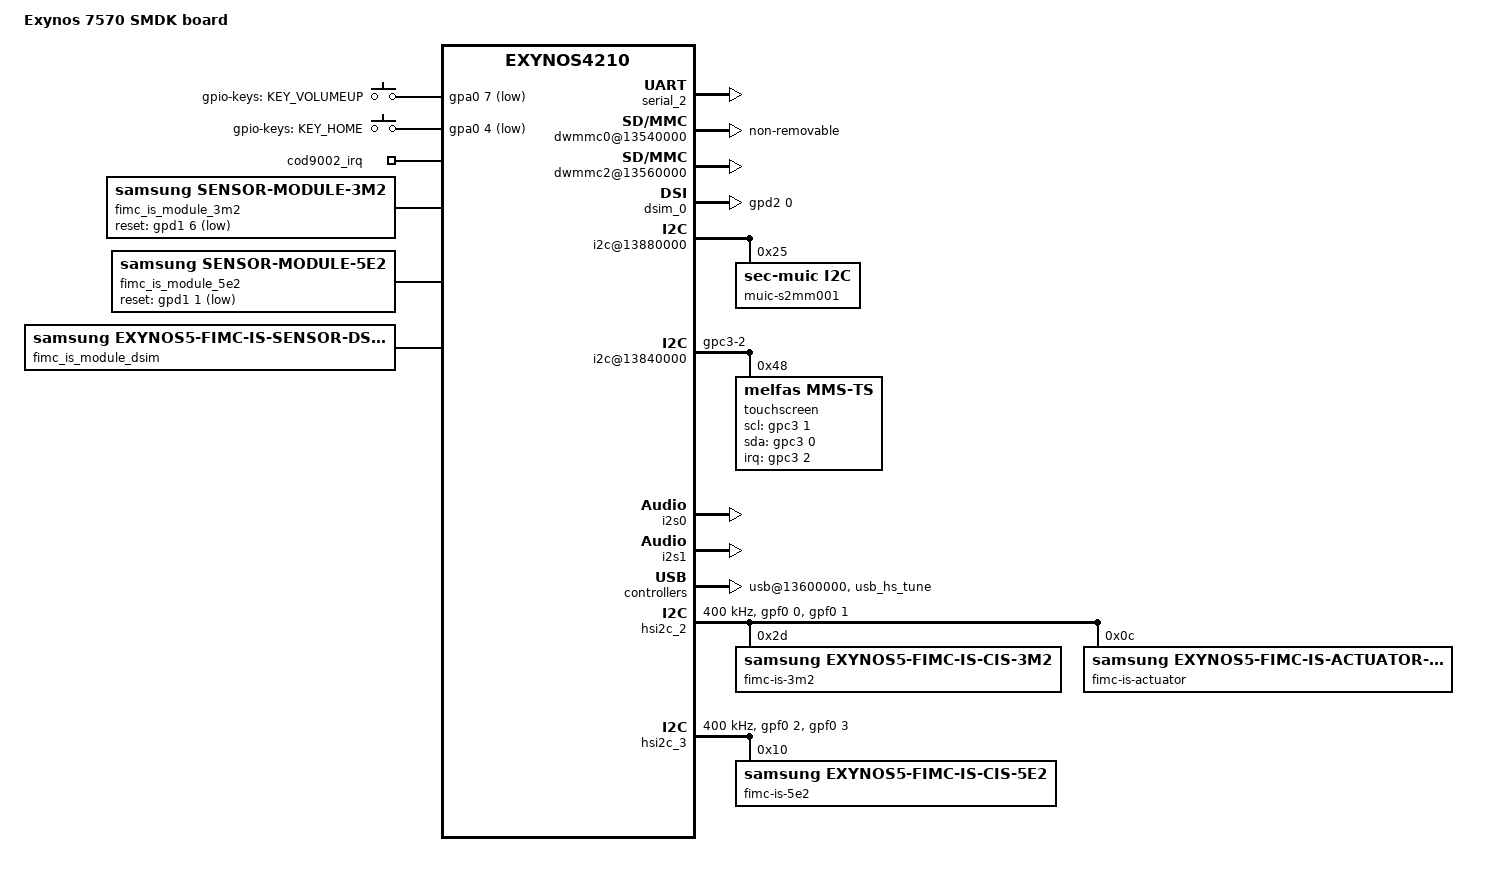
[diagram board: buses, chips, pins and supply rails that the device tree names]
/*
 * SAMSUNG UNIVERSAL8890 board device tree source
 *
 * Copyright (c) 2013 Samsung Electronics Co., Ltd.
 *		http://www.samsung.com
 *
 * This program is free software; you can redistribute it and/or modify
 * it under the terms of the GNU General Public License version 2 as
 * published by the Free Software Foundation.
*/

/dts-v1/;
#include "exynos7570-rmem.dtsi"
#include "exynos7570.dtsi"
#include "modem-ss315ap-pdata.dtsi"

/ {
	model = "Exynos 7570 SMDK board";
	compatible = "samsung,exynos7570", "samsung,exynos4210";

	memory@40000000 {
		device_type = "memory";
		reg = <0x0 0x40000000 0x60000000>;
	};

	chosen {
		bootargs = "console=ttySAC2,115200 clk_ignore_unused androidboot.hardware=samsungexynos7570 bcm_setup=0xffffff80f8e00000 androidboot.selinux=disabled firmware_class.path=/vendor/firmware ess_setup=0x46000000 reserve-fimc=0";
		linux,initrd-start = <0x42000000>;
		linux,initrd-end = <0x421FFFFF>;
	};

	fixed-rate-clocks {
		oscclk {
			compatible = "samsung,exynos7570-oscclk";
			clock-frequency = <26000000>;
		};
	};

	serial_2: uart@13820000 {
		status = "okay";
	};

	dwmmc0@13540000 {
		status = "okay";
		num-slots = <1>;
		broken-card-detect;
		use-smu;
		fixed_voltage;
		supports-highspeed;
		clock-gate;
		mmc-ddr-1_8v;
		mmc-hs200-1_8v;
		mmc-hs400-1_8v;
		supports-8bit;
		supports-cmd23;
		supports-erase;
		enable-ulp-mode;
		supports-hs400-enhanced-strobe;
		card-init-hwacg-ctrl;
		fifo-depth = <0x40>;
		non-removable;
		desc-size = <4>;
		card-detect-delay = <200>;
		data-timeout = <200>;
		hto-timeout = <550>;
		clock-frequency = <700000000>;
		device_drv = <1>;
		samsung,dw-mshc-ciu-div = <3>;
		samsung,dw-mshc-txdt-crc-timer-fastlimit = <0x34>;
		samsung,dw-mshc-txdt-crc-timer-initval = <0x38>;
		samsung,dw-mshc-ddr200-delay-line = <0x60>;
		samsung,dw-mshc-sdr-timing = <3 0 2 0>;
		samsung,dw-mshc-ddr-timing = <3 0 4 2>;
		samsung,dw-mshc-hs200-timing = <3 0 3 0>;
		samsung,dw-mshc-ddr200-timing = <1 0 4 0>;
		samsung,dw-mshc-ddr200-ulp-timing = <3 0 3 0>;

		num-ref-clks = <12>;
		ciu_clkin = <25 43 43 25 43 87 175 43 43 175 175 175>;

		/* Swapping clock drive strength */
		clk-drive-number = <4>;
		pinctrl-names = "default",
			"fast-slew-rate-1x",
			"fast-slew-rate-2x",
			"fast-slew-rate-3x",
			"fast-slew-rate-4x";
		pinctrl-0 = <&sd0_clk &sd0_cmd &sd0_rdqs &sd0_bus1 &sd0_bus4 &sd0_bus8>;
		pinctrl-1 = <&sd0_clk_fast_slew_rate_1x>;
		pinctrl-2 = <&sd0_clk_fast_slew_rate_2x>;
		pinctrl-3 = <&sd0_clk_fast_slew_rate_3x>;
		pinctrl-4 = <&sd0_clk_fast_slew_rate_4x>;
		slot@0 {
			reg = <0>;
			bus-width = <8>;
		};
	};

	dwmmc2@13560000 {
		status = "okay";
		num-slots = <1>;
		clock-gate;
		supports-highspeed;
		supports-4bit;
		supports-cmd23;
		supports-erase;
		sd-uhs-sdr50;
		sd-uhs-sdr104;
		card-detect-gpio;
		bypass-smu;
		only_once_tune;
		bypass-for-allpass;
		use-fine-tuning;
		skip-init-mmc-scan;
		card-init-hwacg-ctrl;
		switch_transfer;
		ignore-phase = <(1 << 7)>;
		fifo-depth = <0x40>;
		desc-size = <4>;
		card-detect-delay = <200>;
		data-timeout = <200>;
		hto-timeout = <550>;
		clock-frequency = <700000000>;
		samsung,dw-mshc-ciu-div = <3>;
		samsung,dw-mshc-sdr-timing = <3 0 2 0>;
		samsung,dw-mshc-ddr-timing = <3 0 2 1>;
		samsung,dw-mshc-sdr50-timing = <3 0 4 2>;
		samsung,dw-mshc-sdr104-timing = <3 0 3 0>;

		num-ref-clks = <9>;
		ciu_clkin = <25 43 43 25 43 87 175 43 43>;

		clk-drive-number = <4>;
		pinctrl-names = "default",
			"fast-slew-rate-1x",
			"fast-slew-rate-2x",
			"fast-slew-rate-3x",
			"fast-slew-rate-4x";
		pinctrl-0 = <&sd2_clk &sd2_cmd &sd2_bus1 &sd2_bus4 &dwmmc2_cd_ext_irq>;
		pinctrl-1 = <&sd2_clk_fast_slew_rate_1x>;
		pinctrl-2 = <&sd2_clk_fast_slew_rate_2x>;
		pinctrl-3 = <&sd2_clk_fast_slew_rate_3x>;
		pinctrl-4 = <&sd2_clk_fast_slew_rate_4x>;

		card-detect = <&gpa0 1 0xf>;
		slot@0 {
			reg = <0>;
			bus-width = <4>;
			disable-wp;
		};
	};

	ion {
		compatible = "samsung,exynos5430-ion";
	};

	decon_fb@14830000 {
		psr_mode = <0>; /* 0: video mode, 1: DP command mode, 2: MIPI command mode */
		/* target decon VCLK = 75MHz */
		/* vclk_mif = 140MHz */
		mif-vclk = <140000000>;
		/* vclk = 140MHz */
		disp-vclk = <140000000>;
		/* decon_divider_num = 1024 */
		vclk-num = <1024>;
		/* decon_divider_denom = 731 */
		vclk-denom = <731>;
		/* aclk = 208MHz */
		disp-dvfs = <208000000>;
		/* XEINT3, GPIO & pin control */
		gpios = <&gpa0 3 0xf>;
		status = "okay";
	};

	dsim_0: dsim@14800000 {
		lcd_info = <&s6e8aa0>;
		/*lcd reset */
		gpios = <&gpd2 0 0x1>;
		status = "okay";
	};

	s6e8aa0: s6e8aa0_hd {
		mode = <0>; /* 0: video mode, 1: DP command mode, 2: MIPI command mode */
		/* HD(720 x 1280) */
		panel_name = "s6e8aa0";
		resolution = <720 1280>;
		size = <71 114>;
		timing,refresh = <60>;
		/* dsim H porch : hbp, hfp, hsa */
		timing,dsim_h-porch = <1 1 1>;
		/* dsim V porch : VBP, VFP, VSA */
		timing,dsim_v-porch = <1 13 2>;
		/* decon H porch : hbp, hfp, hsa */
		timing,decon_h-porch = <1 564 1>;
		/* decon V porch : VBP, VFP, VSA */
		timing,decon_v-porch = <1 13 2>;
		timing,dsi-hs-clk = <600>;
		timing,pms = <4 185 1>;
		timing,dsi-escape-clk = <16>;
	};

	pinctrl@139F0000 {
		if_irq: if-irq {
			samsung,pins = "gpa0-5";
			samsung,pin-pud = <3>;
			samsung,pin-drv = <3>;
		};
	};

	i2c@13880000 {
		status = "okay";
		muic-s2mm001@25 {
			compatible = "sec-muic,i2c";
			reg = <0x25>;
			pinctrl-names = "default";
			muic,muic_int = <&gpa1 1 0>;
		};
	};

	speedy@10510000 {
		status = "okay";

		s2mpu06mfd@00 {
			compatible = "samsung,s2mpu06mfd";
			reg = <0x00>;
			pinctrl-names = "default";
			pinctrl-0 = <&if_irq>;
			s2mpu06,wakeup = "enabled";
			s2mpu06,irq-gpio = <&gpa0 5 0>;

			i2c-speedy-address;
			cache_data = <1>;

			/* RTC: wtsr/smpl */
			wtsr_en = "enabled"; /* enable */
			smpl_en = "enabled"; /* enable */
			wtsr_timer_val = <3>;   /* 1000ms */
			smpl_timer_val = <4>;   /* 500ms */
			check_jigon = <0>; /* do not check jigon */
			/* RTC: If it's first boot, reset rtc to 1/1/2015 12:00:00(Wed) */
			init_time,sec = <0>;
			init_time,min = <0>;
			init_time,hour = <0>;
			init_time,mday = <1>;
			init_time,mon = <0>;
			init_time,year = <116>;
			init_time,wday = <5>;

			s2mpu06-keys {
				button@1 {
					label = "pmic-keys: KEY_POWER";
					linux,code = <116>;
					wakeup = <1>;
				};
			};

			regulators {
				buck1_reg: BUCK1 {
					regulator-name = "BUCK1";
					regulator-min-microvolt = <500000>;
					regulator-max-microvolt = <1300000>;
					regulator-always-on;
					regulator-boot-on;
					regulator-ramp-delay = <12000>;
					regulator-initial-mode = <1>;
					regulator-expected-consumer = <6>;
				};

				buck2_reg: BUCK2 {
					regulator-name = "BUCK2";
					regulator-min-microvolt = <800000>;
					regulator-max-microvolt = <2800000>;
					regulator-always-on;
					regulator-boot-on;
					regulator-ramp-delay = <12000>;
					regulator-initial-mode = <3>;
				};

				buck3_reg: BUCK3 {
					regulator-name = "BUCK3";
					regulator-min-microvolt = <800000>;
					regulator-max-microvolt = <2800000>;
					regulator-always-on;
					regulator-boot-on;
					regulator-ramp-delay = <12000>;
					regulator-initial-mode = <1>;
				};

				ldo1_reg: LDO1 {
					regulator-name = "vdd_ldo1";
					regulator-min-microvolt = <500000>;
					regulator-max-microvolt = <1300000>;
					regulator-always-on;
					regulator-boot-on;
					regulator-ramp-delay = <12000>;
					regulator-initial-mode = <1>;
				};

				ldo2_reg: LDO2 {
					regulator-name = "vdd_ldo2";
					regulator-min-microvolt = <1500000>;
					regulator-max-microvolt = <2000000>;
					regulator-boot-on;
					regulator-always-on;
					regulator-ramp-delay = <12000>;
					regulator-initial-mode = <3>;
				};

				ldo3_reg: LDO3 {
					regulator-name = "vdd_ldo3";
					regulator-min-microvolt = <800000>;
					regulator-max-microvolt = <1500000>;
					regulator-boot-on;
					regulator-always-on;
					regulator-ramp-delay = <12000>;
					regulator-initial-mode = <1>;
				};

				ldo4_reg: LDO4 {
					regulator-name = "vqmmc";
					regulator-min-microvolt = <1700000>;
					regulator-max-microvolt = <3350000>;
					regulator-ramp-delay = <12000>;
					regulator-initial-mode = <0>;
				};

				ldo5_reg: LDO5 {
					regulator-name = "vdd_ldo5";
					regulator-min-microvolt = <1700000>;
					regulator-max-microvolt = <3350000>;
					regulator-boot-on;
					regulator-always-on;
					regulator-ramp-delay = <12000>;
					regulator-initial-mode = <1>;
				};

				ldo6_reg: LDO6 {
					regulator-name = "vdd_ldo6";
					regulator-min-microvolt = <500000>;
					regulator-max-microvolt = <1300000>;
					regulator-boot-on;
					regulator-always-on;
					regulator-ramp-delay = <12000>;
					regulator-initial-mode = <1>;
				};

				ldo7_reg: LDO7 {
					regulator-name = "vdd_ldo7";
					regulator-min-microvolt = <800000>;
					regulator-max-microvolt = <1300000>;
					regulator-boot-on;
					regulator-always-on;
					regulator-ramp-delay = <12000>;
					regulator-initial-mode = <1>;
				};

				ldo8_reg: LDO8 {
					regulator-name = "vdd_ldo8";
					regulator-min-microvolt = <1800000>;
					regulator-max-microvolt = <3375000>;
					regulator-boot-on;
					regulator-always-on;
					regulator-ramp-delay = <12000>;
					regulator-initial-mode = <1>;
				};

				ldo13_reg: LDO13 {
					regulator-name = "vdd_ldo13";
					regulator-min-microvolt = <800000>;
					regulator-max-microvolt = <2000000>;
					regulator-ramp-delay = <12000>;
					regulator-initial-mode = <1>;
				};

				ldo14_reg: LDO14 {
					regulator-name = "vemmc";
					regulator-min-microvolt = <1800000>;
					regulator-max-microvolt = <3375000>;
					regulator-ramp-delay = <12000>;
					regulator-initial-mode = <0>;
				};

				ldo15_reg: LDO15 {
					regulator-name = "vqemmc";
					regulator-min-microvolt = <800000>;
					regulator-max-microvolt = <2000000>;
					regulator-ramp-delay = <12000>;
					regulator-initial-mode = <0>;
				};

				ldo16_reg: LDO16 {
					regulator-name = "vmmc";
					regulator-min-microvolt = <1800000>;
					regulator-max-microvolt = <3375000>;
					regulator-ramp-delay = <12000>;
					regulator-initial-mode = <0>;
				};

				ldo17_reg: LDO17 {
					regulator-name = "VDD18_CAM_SENSOR_IO";
					regulator-min-microvolt = <1800000>;
					regulator-max-microvolt = <1800000>;
					regulator-always-on;
					regulator-ramp-delay = <12000>;
					regulator-initial-mode = <0>;
				};

				ldo18_reg: LDO18 {
					regulator-name = "VDD28_CAM_AF";
					regulator-min-microvolt = <2800000>;
					regulator-max-microvolt = <2800000>;
					regulator-always-on;
					regulator-ramp-delay = <12000>;
					regulator-initial-mode = <1>;
				};

				ldo19_reg: LDO19 {
					regulator-name = "vdd_ldo19";
					regulator-min-microvolt = <1800000>;
					regulator-max-microvolt = <3375000>;
					regulator-always-on;
					regulator-ramp-delay = <12000>;
					regulator-initial-mode = <1>;
				};

				ldo20_reg: LDO20 {
					regulator-name = "vdd_ldo20";
					regulator-min-microvolt = <800000>;
					regulator-max-microvolt = <2000000>;
					regulator-always-on;
					regulator-ramp-delay = <12000>;
					regulator-initial-mode = <1>;
				};

				ldo21_reg: LDO21 {
					regulator-name = "vdd_ldo21";
					regulator-min-microvolt = <1800000>;
					regulator-max-microvolt = <3375000>;
					regulator-ramp-delay = <12000>;
					regulator-initial-mode = <0>;
				};

				ldo22_reg: LDO22 {
					regulator-name = "vdd_ldo22";
					regulator-min-microvolt = <1800000>;
					regulator-max-microvolt = <3375000>;
					regulator-always-on;
					regulator-ramp-delay = <12000>;
					regulator-initial-mode = <1>;
				};

				ldo23_reg: LDO23 {
					regulator-name = "VDD12_CAM_CORE";
					regulator-min-microvolt = <1200000>;
					regulator-max-microvolt = <1200000>;
					regulator-always-on;
					regulator-ramp-delay = <12000>;
					regulator-initial-mode = <1>;
				};

				ldo24_reg: LDO24 {
					regulator-name = "AVDD28_CAM";
					regulator-min-microvolt = <2800000>;
					regulator-max-microvolt = <2800000>;
					regulator-always-on;
					regulator-ramp-delay = <12000>;
					regulator-initial-mode = <1>;
				};
			};
		};
		audio_codec_cod9002x: cod9002x@03 {
			compatible = "codec,cod9002x";
			reg = <0x03>;
			i2c-speedy-address;
		        vdd-supply = <&ldo13_reg>;
			pinctrl-names = "default";
			/*pinctrl-0 = <&cod9002_irq>;
			interrupt-parent = <&gpa0>;
			gpios = <&gpa0 4 0xf>;*/
			mic-bias1-voltage = <3>;
			mic-bias2-voltage = <3>;
			mic-bias-ldo-voltage = <3>;
		};

		fimc_is_flash@06 {
			compatible = "samsung,sensor-flash-i2c";
			reg = <0x06>;
			id = <0>;
			flash-gpio = <&gpa0 0 0>;
			i2c-speedy-address;
		};
	};

	pinctrl@139D0000 {
		melfas_irq: melfas-irq {
			samsung,pins = "gpc3-2";
			samsung,pin-pud = <3>;
			samsung,pin-drv = <3>;
		};
	};

	mif_pdata {
		reg = <0 0x10000 0x0>;
	};

	i2c@13840000 {
		samsung,i2c-sda-delay = <100>;
		samsung,i2c-slave-addr = <0x10>;
		samsung,i2c-max-bus-freq = <400000>;
		pinctrl-0 = <&i2c3_bus &melfas_irq>;
		pinctrl-names = "default";
		status = "okay";

		touchscreen@48 {
			compatible = "melfas,mms-ts";
			reg = <0x48>;
			melfas,panel-coords = <0 0 720 1280>;
			melfas,i2c-pull-up; // optional: enable i2c pull-up
			melfas,scl-gpio = <&gpc3 1 0>;
			melfas,sda-gpio = <&gpc3 0 0>;
			melfas,irq-gpio = <&gpc3 2 0>;
		};
	};

	pinctrl@139F0000 {
		key_volup: key-volup {
			samsung,pins = "gpa0-7";
			samsung,pin-function = <0xf>;
			samsung,pin-pud = <0>;
			samsung,pin-drv = <0>;
		};

		key_home: key-home {
			samsung,pins = "gpa0-4";
			samsung,pin-function = <0xf>;
			samsung,pin-pud = <0>;
			samsung,pin-drv = <0>;
		};
	};

	gpio_keys {
		compatible = "gpio-keys";
		pinctrl-names = "default";
		pinctrl-0 = <&key_volup &key_home>;
		#address-cells = <1>;
		#size-cells = <0>;

		button@1 {
			label = "gpio-keys: KEY_VOLUMEUP";
			interrupts = <7 0 0>;
			interrupt-parent = <&gpa0>;
			linux,code = <116>;
			gpios = <&gpa0 7 0xf>;
			gpio-key,wakeup = <1>;
		};
		button@2 {
			label = "gpio-keys: KEY_HOME";
			interrupts = <4 0 0>;
			interrupt-parent = <&gpa0>;
			linux,code = <172>;
			gpios = <&gpa0 4 0xf>;
			gpio-key,wakeup = <1>;
		};
		cod9002_irq: cod9002-irq {
			samsung,pins = "gpa0-4";
			samsung,pin-pud = <3>;
			samsung,pin-drv = <3>;
		};
	};


      s1403x: s1403x@14880000 {
		pinctrl-names = "default", "idle";
		pinctrl-0 = <&i2s_pmic_bus
				&i2s_amp_bus
				&i2s_codec_clk>;
		pinctrl-1 = <&i2s_pmic_bus_idle
				&i2s_amp_bus_idle> ;
		bck-mcko-mode;
		status = "okay";
	};

	i2s_dummy: dummy-i2s {
		compatible = "samsung,dummy-i2s";
		status = "okay";
	};

	i2s0: i2s@148A0000 {
		status = "okay";
	};

	i2s1: i2s@148B0000 {
		status = "okay";
	};

	audio_cp_dummy: cp_dummy {
			compatible = "samsung,cp_dummy";
			status = "okay";
	};

	audio_fm_dummy: fm_dummy {
			compatible = "samsung,fm_dummy";
			status = "okay";
	};

	audio_bt_dummy: bt_dummy {
			compatible = "samsung,bt_dummy";
			status = "okay";
	};

	audio_codec_dummy: dummy-codec {
			compatible = "samsung,dummy-codec";
			status = "okay";
	};

	sound {
		compatible = "samsung,smdk7570-cod9002x";
		samsung,audio-cpu = <&i2s0	/* primary */
			&i2s0			 /* secondary */
			&audio_cp_dummy
			&audio_bt_dummy
			&audio_fm_dummy
			&i2s1			/*AMP for AP */
			&audio_cp_dummy /*AMP for CP */
			&eax
			&eax
			&eax
			&eax>;
		samsung,audio-codec = <&audio_codec_cod9002x
			&audio_codec_cod9002x
			&audio_codec_cod9002x
			&audio_codec_dummy
			&audio_codec_cod9002x
			&audio_codec_dummy
			&audio_codec_dummy
			&audio_codec_cod9002x
			&audio_codec_cod9002x
			&audio_codec_cod9002x
			&audio_codec_cod9002x>;

		samsung,auxdev = <&s1403x>;
		status = "okay";
	};

        usb@13600000 {
		status = "okay";
		dwc3 {
			dr_mode = "otg";
		};
	};

	usbphy@135c0000 {
		status = "okay";
		hs_tune_info = <&usb_hs_tune>;
		ss_tune_info = <&usb_ss_tune>;
	};

	usb_hs_tune:hs_tune {
		status = "okay";
		/* value = <device host> */
		tx_vref = <0x3 0x3>;
		tx_pre_emp = <0x0 0x0>;
		tx_pre_emp_puls = <0x0 0x0>;
		tx_res	= <0x2 0x2>;
		tx_rise = <0x1 0x1>;
		tx_hsxv = <0x0 0x0>;
		tx_fsls = <0x3 0x3>;
		rx_sqrx = <0x5 0x5>;
		compdis	= <0x3 0x3>;
		otg= <0x2 0x2>;
		/* true : 1, false: 0 */
		/* <enable_user_imp user_imp_value> */
		enable_user_imp = <0 0>;
		/* PHY clk : 1 , FREE clk : 0 */
		is_phyclock = <1>;
	};

	usb_ss_tune:ss_tune {
		status = "disabled";
		/* value = <device host> */
		tx_boost_level = <0x4 0x4>;
		tx_swing_level = <0x1 0x1>;
		tx_swing_full = <0x7F 0x7F>;
		tx_swing_low = <0x7F 0x7F>;
		tx_deemphasis_mode = <0x1 0x1>;
		tx_deemphasis_3p5db = <0x18 0x18>;
		tx_deemphasis_6db = <0x18 0x18>;
		enable_ssc = <0x1 0x1>;
		ssc_range = <0x0 0x1>;
		los_bias = <0x5 0x5>;
		los_mask_val = <0x104 0x104>;
		enable_fixed_rxeq_mode = <0x0 0x0>;
		fix_rxeq_value = <0x4 0x4>;
		set_crport_mpll_charge_pump = <0x0 0x0>;
		set_crport_level_en = <0x0 0x0>;
	};

	usb_notifier {
		compatible = "samsung,usb-notifier";
		udc = <&udc>;
	};

	tmuctrl_0: tmuctrl_CPUCL0@10130000 {
		compatible = "samsung,exynos7570-tmu";
		reg = <0x0 0x10130000 0x200>;
		interrupts = <0 435 0>;
		default_ptat_cont = <0x1>;
	};

	tmuctrl_1: tmuctrl_G3D@10130000 {
		compatible = "samsung,exynos7570-tmu";
		reg = <0x0 0x10130000 0x200>;
		interrupts = <0 435 0>;
		default_ptat_cont = <0x1>;

		/* gpu cooling related table */
		gpu_idx_num = <5>;
		/* flags, driver_data(index), frequency */
		gpu_cooling_table = < 0 0 830000
				      0 1 666000
				      0 2 553000
				      0 3 415000
				      0 4 TABLE_END>;
	};

	exynos_rgt {
		compatible = "samsung,exynos-rgt";
	};

	exynos-pm {
		compatible = "samsung,exynos-pm";
		reg = <0x0 0x139F0000 0x1000>,
		      <0x0 0x104E1200 0x100>;
		reg-names = "gpio_alive_base",
			    "gicd_ispendrn_base";
		num-eint = <24>;
		num-gic = <16>;
		suspend_mode_idx = <7>;		/* SYS_DSTOP */
		suspend_psci_idx = <131>;	/* PSCI_SYSTEM_SLEEP */
		cp_call_mode_idx = <4>;		/* SYS_LPD */
		cp_call_psci_idx = <132>;	/* PSCI_SYSTEM_CP_CALL */
	};

	exynos-powermode {
		compatible = "exynos,powermode";

		/*	        sicd		sicd_cpd	aftr		stop
		 *		lpd		lpa		alpa		dstop
		 *		sleep
		 */
		wakeup_mask =  <0x400791E1>,	<0x0>,		<0x0>,		<0x0>,
			       <0x0>,		<0x0>,		<0x0>,		<0x0>,
			       <0x4007FFFC>;
		wakeup_mask2 = <0x0>,		<0x0>,		<0x0>,		<0x0>,
			       <0x0>,		<0x0>,		<0x0>,		<0x0>,
			       <0xFFFF00FF>;
		wakeup_mask3 = <0x0>,		<0x0>,		<0x0>,		<0x0>,
			       <0x0>,		<0x0>,		<0x0>,		<0x0>,
			       <0xFFFF00FF>;

		cpd_residency = <3000>;
		sicd_residency = <3000>;

		sicd_enabled = <1>;

		idle-ip = "136c0000.pwm",		/* idle ip index : 0 */
			  "10550000.adc",		/* idle ip index : 1 */

			  "10510000.hsi2c",		/* idle ip index : 2 */
			  "13950000.hsi2c",		/* idle ip index : 3 */
			  "13960000.hsi2c",		/* idle ip index : 4 */
			  "138a0000.hsi2c",		/* idle ip index : 5 */
			  "138b0000.hsi2c",		/* idle ip index : 6 */
			  "138c0000.hsi2c",		/* idle ip index : 7 */
			  "138f0000.hsi2c",		/* idle ip index : 8 */

			  "13870000.i2c",		/* idle ip index : 9 */
			  "13880000.i2c",		/* idle ip index : 10 */
			  "13890000.i2c",		/* idle ip index : 11 */
			  "13840000.i2c",		/* idle ip index : 12 */
			  "13830000.i2c",		/* idle ip index : 13 */
			  "138d0000.i2c",		/* idle ip index : 14 */
			  "138e0000.i2c",		/* idle ip index : 15 */
			  "13850000.i2c",		/* idle ip index : 16 */
			  "13860000.i2c",		/* idle ip index : 17 */

			  "13540000.dwmmc0",		/* idle ip index : 18 */
			  "13560000.dwmmc2",		/* idle ip index : 19 */

			  "13600000.usb",		/* idle ip index : 20 */

			  "100c0000.spi",		/* idle ip index : 21 */
			  "13900000.spi",		/* idle ip index : 22 */
			  "13910000.spi",		/* idle ip index : 23 */
			  "13920000.spi",		/* idle ip index : 24 */
			  "13930000.spi",		/* idle ip index : 25 */

			  "10500000.mailbox-cp",	/* idle ip index : 26 */
			  "10570000.mailbox-gnss",	/* idle ip index : 27 */

			  "14830000.decon_fb",		/* idle ip index : 28 */
			  "pd-g3d",			/* idle ip index : 29 */
			  "pd-isp",			/* idle ip index : 30 */
			  "pd-mfcmscl",			/* idle ip index : 31 */
			  "148f0000.lpass";             /* idle ip index : 32 */
		idle_ip_mask {
			sicd: SYS_SICD {
				mode-index = <0>;
				ref-idle-ip = <0>,  <1>,  <2>,  <3>,  <4>,  <5>,  <6>,  <7>,  <8>,  <9>,
					     <10>, <11>, <12>, <13>, <14>, <15>, <16>, <17>, <18>, <19>,
					     <20>, <21>, <22>, <23>, <24>, <25>, <26>, <27>, <28>, <29>,
					     <30>, <31>, <32>;
			};
		};
	};

	acpm: acpm@11C88000 {
		compatible = "samsung,exynos-acpm";
		#address-cells = <2>;
		#size-cells = <1>;
		reg = <0x0 0x11C88000 0x1000>;

		log_base = <0x02047700>;
		time_len = <32>;
		log_buff_size = <16>;
		log_buff_len = <380>;
		debug_logging_level = <0>;
		logging_period = <500>;

		dump_base = <0x02046000>;
		dump_size = <0x3800>;

		plugins {
			framework {
				attach = <2>;
				id = <0>;
				acpm-ipc-channel = <&framework_ch>;
			};
		};
	};

	acpm_ipc: acpm_ipc@11C00000 {
		compatible = "samsung,exynos-acpm-ipc";
		#address-cells = <2>;
		#size-cells = <1>;

		interrupts = <0 22 0>;
		reg = <0x0 0x11C00000 0x1000>;

		channels {
			polling = <1>;
			max_buff_size = <0x300>;
			framework_ch: framework@0x02047400 {
				channel_id = <0>;
				rx_buff = <0x02047400>;
				tx_buff = <0x02047480>;
				buff_size = <12>;
				buff_len = <8>;
				direction_buff = <412>;
			};
		};
	};

	fimc_is@14400000 {
		rear_sensor_id = <14>; /* 3M2  */
		front_sensor_id = <22>; /* 5E2 */
		use_module_check;
		skip_cal_loading;

		fimc_is_dvfs {
			#define DVFS_INT_L0 467000
			#define DVFS_INT_L1 415000

			#define DVFS_CAM_L0 666000
			#define DVFS_CAM_L1 554000
			#define DVFS_CAM_L2 444000

			#define DVFS_MIF_L0 830000
			#define DVFS_MIF_L1 700000
			#define DVFS_MIF_L2 666000
			#define DVFS_MIF_L3 415000

			table0 {
				desc = "HAL1 version";

				default_int = <DVFS_INT_L0>;
				default_cam = <DVFS_CAM_L1>;
				default_mif = <DVFS_MIF_L0>;
				default_i2c = <0>;

				front_preview_int = <DVFS_INT_L0>;
				front_preview_cam = <DVFS_CAM_L2>;
				front_preview_mif = <DVFS_MIF_L0>;
				front_preview_i2c = <0>;

				front_capture_int = <DVFS_INT_L0>;
				front_capture_cam = <DVFS_CAM_L2>;
				front_capture_mif = <DVFS_MIF_L0>;
				front_capture_i2c = <0>;

				front_video_int = <DVFS_INT_L0>;
				front_video_cam = <DVFS_CAM_L2>;
				front_video_mif = <DVFS_MIF_L0>;
				front_video_i2c = <0>;

				front_video_capture_int = <DVFS_INT_L0>;
				front_video_capture_cam = <DVFS_CAM_L2>;
				front_video_capture_mif = <DVFS_MIF_L0>;
				front_video_capture_i2c = <0>;

				front_vt1_int = <DVFS_INT_L0>;
				front_vt1_cam = <DVFS_CAM_L2>;
				front_vt1_mif = <DVFS_MIF_L0>;
				front_vt1_i2c = <0>;

				front_vt2_int = <DVFS_INT_L0>;
				front_vt2_cam = <DVFS_CAM_L2>;
				front_vt2_mif = <DVFS_MIF_L0>;
				front_vt2_i2c = <0>;

				rear_preview_int = <DVFS_INT_L0>;
				rear_preview_cam = <DVFS_CAM_L1>;
				rear_preview_mif = <DVFS_MIF_L0>;
				rear_preview_i2c = <0>;

				rear_capture_int = <DVFS_INT_L0>;
				rear_capture_cam = <DVFS_CAM_L1>;
				rear_capture_mif = <DVFS_MIF_L0>;
				rear_capture_i2c = <0>;

				rear_video_int = <DVFS_INT_L0>;
				rear_video_cam = <DVFS_CAM_L1>;
				rear_video_mif = <DVFS_MIF_L0>;
				rear_video_i2c = <0>;

				rear_video_capture_int = <DVFS_INT_L0>;
				rear_video_capture_cam = <DVFS_CAM_L1>;
				rear_video_capture_mif = <DVFS_MIF_L0>;
				rear_video_capture_i2c = <0>;

				preview_high_speed_fps_int = <DVFS_INT_L0>;
				preview_high_speed_fps_cam = <DVFS_CAM_L2>;
				preview_high_speed_fps_mif = <DVFS_MIF_L0>;
				preview_high_speed_fps_i2c = <0>;

				video_high_speed_60fps_int = <DVFS_INT_L0>;
				video_high_speed_60fps_cam = <DVFS_CAM_L2>;
				video_high_speed_60fps_mif = <DVFS_MIF_L0>;
				video_high_speed_60fps_i2c = <0>;

				video_high_speed_120fps_int = <DVFS_INT_L0>;
				video_high_speed_120fps_cam = <DVFS_CAM_L2>;
				video_high_speed_120fps_mif = <DVFS_MIF_L0>;
				video_high_speed_120fps_i2c = <0>;

				max_int = <DVFS_INT_L0>;
				max_cam = <DVFS_CAM_L0>;
				max_mif = <DVFS_MIF_L0>;
				max_i2c = <0>;
			};

			table1 {
				desc = "HAL3 version";

				default_int = <DVFS_INT_L0>;
				default_cam = <DVFS_CAM_L1>;
				default_mif = <DVFS_MIF_L0>;
				default_i2c = <0>;

				front_preview_int = <DVFS_INT_L0>;
				front_preview_cam = <DVFS_CAM_L2>;
				front_preview_mif = <DVFS_MIF_L0>;
				front_preview_i2c = <0>;

				front_capture_int = <DVFS_INT_L0>;
				front_capture_cam = <DVFS_CAM_L2>;
				front_capture_mif = <DVFS_MIF_L0>;
				front_capture_i2c = <0>;

				front_video_int = <DVFS_INT_L0>;
				front_video_cam = <DVFS_CAM_L2>;
				front_video_mif = <DVFS_MIF_L0>;
				front_video_i2c = <0>;

				front_video_capture_int = <DVFS_INT_L0>;
				front_video_capture_cam = <DVFS_CAM_L2>;
				front_video_capture_mif = <DVFS_MIF_L0>;
				front_video_capture_i2c = <0>;

				front_vt1_int = <DVFS_INT_L0>;
				front_vt1_cam = <DVFS_CAM_L2>;
				front_vt1_mif = <DVFS_MIF_L0>;
				front_vt1_i2c = <0>;

				front_vt2_int = <DVFS_INT_L0>;
				front_vt2_cam = <DVFS_CAM_L2>;
				front_vt2_mif = <DVFS_MIF_L0>;
				front_vt2_i2c = <0>;

				rear_preview_int = <DVFS_INT_L0>;
				rear_preview_cam = <DVFS_CAM_L1>;
				rear_preview_mif = <DVFS_MIF_L0>;
				rear_preview_i2c = <0>;

				rear_capture_int = <DVFS_INT_L0>;
				rear_capture_cam = <DVFS_CAM_L1>;
				rear_capture_mif = <DVFS_MIF_L0>;
				rear_capture_i2c = <0>;

				rear_video_int = <DVFS_INT_L0>;
				rear_video_cam = <DVFS_CAM_L1>;
				rear_video_mif = <DVFS_MIF_L0>;
				rear_video_i2c = <0>;

				rear_video_capture_int = <DVFS_INT_L0>;
				rear_video_capture_cam = <DVFS_CAM_L1>;
				rear_video_capture_mif = <DVFS_MIF_L0>;
				rear_video_capture_i2c = <0>;

				preview_high_speed_fps_int = <DVFS_INT_L0>;
				preview_high_speed_fps_cam = <DVFS_CAM_L2>;
				preview_high_speed_fps_mif = <DVFS_MIF_L0>;
				preview_high_speed_fps_i2c = <0>;

				video_high_speed_60fps_int = <DVFS_INT_L0>;
				video_high_speed_60fps_cam = <DVFS_CAM_L2>;
				video_high_speed_60fps_mif = <DVFS_MIF_L0>;
				video_high_speed_60fps_i2c = <0>;

				video_high_speed_120fps_int = <DVFS_INT_L0>;
				video_high_speed_120fps_cam = <DVFS_CAM_L2>;
				video_high_speed_120fps_mif = <DVFS_MIF_L0>;
				video_high_speed_120fps_i2c = <0>;

				max_int = <DVFS_INT_L0>;
				max_cam = <DVFS_CAM_L0>;
				max_mif = <DVFS_MIF_L0>;
				max_i2c = <0>;
			};
		};
	};

	fimc_is_module_3m2: fimc-is_sensor_3m2@5A {
		compatible = "samsung,sensor-module-3m2";

		pinctrl-names = "pin0", "pin1", "pin2";
		pinctrl-0 = <>;
		pinctrl-1 = <&fimc_is_mclk0_in &fimc_is_flash>;
		pinctrl-2 = <&fimc_is_mclk0_fn &fimc_is_flash>;

		position = <0>; /* Rear:0. Front:1 */
		id = <0>; /* sensor node id */
		mclk_ch = <0>;
		sensor_i2c_ch = <0>; /* I2C 0 */
		sensor_i2c_addr = <0x2D>;

		gpio_reset = <&gpd1 6 0x1>; /* sensor reset */
		status = "okay";

		af {
			product_name = <9>; /* AK7348 */
			i2c_addr = <0x0C>;
			i2c_ch = <0>; /* I2C 0 */
		};

		/* TODO : need to update */
		flash {
			product_name = <13>; /* FLASH_I2C */
			flash_first_gpio = <2>;
			flash_second_gpio = <1>;
		};
	};

	fimc_is_module_5e2: fimc-is_sensor_5e2@22 {
		compatible = "samsung,sensor-module-5e2";

		pinctrl-names = "pin0", "pin1", "pin2";
		pinctrl-0 = <>;
		pinctrl-1 = <&fimc_is_mclk0_in>;
		pinctrl-2 = <&fimc_is_mclk0_fn>;

		position = <1>; /* Rear:0. Front:1 */
		id = <1>; /* sensor node id */
		mclk_ch = <0>;
		sensor_i2c_ch = <1>;
		sensor_i2c_addr = <0x10>;

		gpio_reset = <&gpd1 1 0x1>;
		status = "okay";
	};

	fimc_is_module_dsim: fimc-is_sensor_dsim {
		compatible = "samsung,exynos5-fimc-is-sensor-dsim";

		position = <0>; /* Rear:0. Front:1 */
		id = <0>; /* sensor node id */
		mclk_ch = <0>;
		sensor_i2c_ch = <0>; /* I2C 0 */
		sensor_i2c_addr = <0x5A>;

		status = "okay";
	};

	hsi2c_2: hsi2c@138A0000 {
		 gpios = <&gpf0 0 0 &gpf0 1 0>;
		 status = "okay";
		 clock-frequency = <400000>;

		 pinctrl-names = "default";
		 pinctrl-0 = <&hs_i2c2_bus>;

		 fimc-is-3m2@2D {
			 compatible = "samsung,exynos5-fimc-is-cis-3m2";
			 reg = <0x2D>;
			 id = <0>; /* matching sensor id */
			 setfile = "default";
		 };

		 fimc-is-actuator@0C {
			 compatible = "samsung,exynos5-fimc-is-actuator-ak7348";
			 reg = <0x0C>;
			 id = <0>; /* matching sensor id */
		};
	};

	hsi2c_3: hsi2c@138C0000 {
		gpios = <&gpf0 2 0 &gpf0 3 0>;
		status = "okay";
		clock-frequency = <400000>;

		pinctrl-names = "default";
		pinctrl-0 = <&hs_i2c3_bus>;

		fimc-is-5e2@10 {
		        compatible = "samsung,exynos5-fimc-is-cis-5e2";
		        reg = <0x10>;
		        id = <1>; /* matching sensor id */
		        setfile = "default";
		};
	};

	#define SENSOR_SCENARIO_NORMAL      0
	#define SENSOR_SCENARIO_VISION      1
	#define SENSOR_SCENARIO_EXTERNAL    2
	#define SENSOR_SCENARIO_OIS_FACTORY 3
	#define SENSOR_SCENARIO_VIRTUAL     9
	#define FLITE_ID_NOTHING 100

	fimc_is_sensor0: fimc_is_sensor0@14420000 {
		scenario = <SENSOR_SCENARIO_NORMAL>;    /* Normal, Vision, OIS etc */
		id = <0>;
		csi_ch = <0>;
		flite_ch = <0>;
		is_bns = <1>;
		status = "okay";
	};

	fimc_is_sensor1: fimc_is_sensor1@14420000 {
		scenario = <SENSOR_SCENARIO_NORMAL>;    /* Normal, Vision, OIS etc */
		id = <1>;
		csi_ch = <0>;
		flite_ch = <0>;
		is_bns = <1>;
		status = "okay";
	};
};
